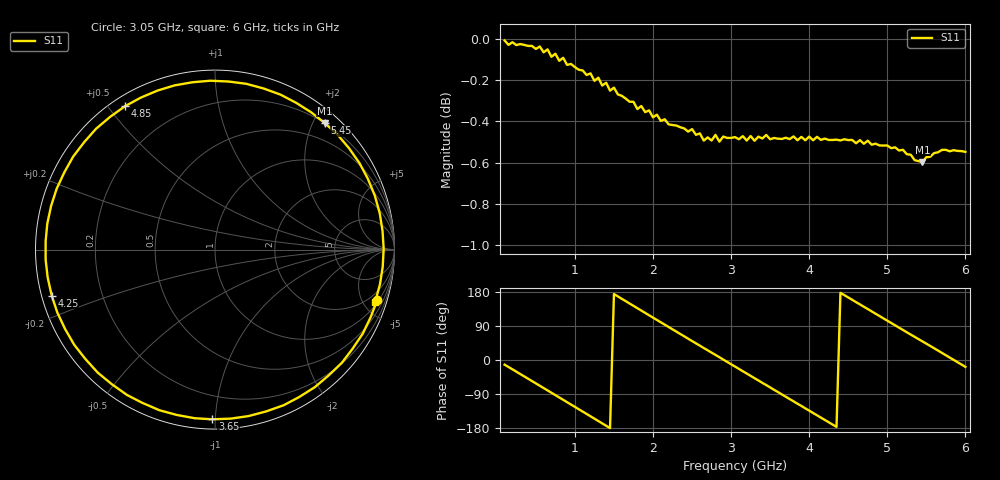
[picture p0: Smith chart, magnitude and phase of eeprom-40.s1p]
! Created with skrf 2.0.0 (http://scikit-rf.org).
# Hz S RI R 50.0
!freq ReS11 ImS11
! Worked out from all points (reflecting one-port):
!   119 points, 100 MHz to 6 GHz, reference 50 ohm
!   lowest |S11| = -0.6 dB at 5.45 GHz (marker M1), VSWR 29.09, Z = 9.9 + j109 ohm
!   phase of S11 starts at -12 deg and turns -726 deg over the sweep
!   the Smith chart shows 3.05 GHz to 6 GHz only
!   S11 on the Smith chart (normalised r, x): 3.05 GHz: 1.18, -6.37; 3.65 GHz: 0.05, -0.98; 4.25 GHz: 0.03, -0.14; 4.85 GHz: 0.04, +0.55; 5.45 GHz: 0.20, +2.17; 6 GHz: 1.22, -6.03
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1e8  0.9762 -0.2133
3e8  0.7963 -0.6003
5e8  0.4711 -0.8758
6.5e8  0.1678 -0.98
8.5e8  -0.2575 -0.9555
1.05e9  -0.6316 -0.7533
1.25e9  -0.8843 -0.4152
1.4e9  -0.9697 -0.1101
1.6e9  -0.9189 0.3068
1.75e9  -0.7706 0.5817
2e9  -0.3563 0.8884
2.15e9  -0.0549 0.9546
2.35e9  0.3474 0.8862
2.7e9  0.8536 0.409
2.9e9  0.9467 0.0179
3.05e9  0.904 -0.281
3.35e9  0.556 -0.7664
3.65e9  -0.0144 -0.9455
3.8e9  -0.3103 -0.8947
4.05e9  -0.7221 -0.6095
4.25e9  -0.9098 -0.2559
4.55e9  -0.8818 0.3402
4.85e9  -0.5015 0.7988
5.1e9  -0.0262 0.9409
5.3e9  0.3645 0.8636
5.45e9  0.6112 0.7056
5.75e9  0.9177 0.2032
6e9  0.8922 -0.2922
